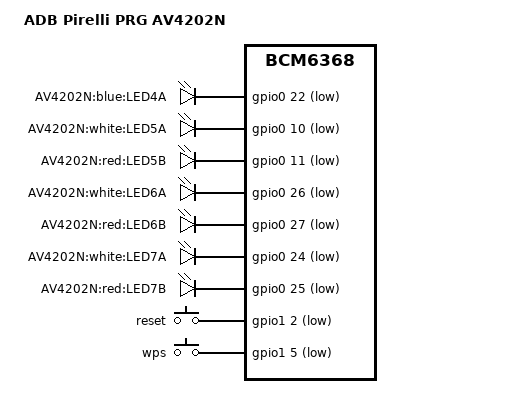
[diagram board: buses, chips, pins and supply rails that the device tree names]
/dts-v1/;

#include "bcm6368.dtsi"

#include <dt-bindings/input/input.h>

/ {
	model = "ADB Pirelli PRG AV4202N";
	compatible = "adb,av4202n", "brcm,bcm6368";

	gpio-leds {
		compatible = "gpio-leds";

		LED4A {
			label = "AV4202N:blue:LED4A";
			gpios = <&gpio0 22 1>;
		};
		LED5A {
			label = "AV4202N:white:LED5A";
			gpios = <&gpio0 10 1>;
		};
		LED5B {
			label = "AV4202N:red:LED5B";
			gpios = <&gpio0 11 1>;
		};
		LED6A {
			label = "AV4202N:white:LED6A";
			gpios = <&gpio0 26 1>;
		};
		LED6B {
			label = "AV4202N:red:LED6B";
			gpios = <&gpio0 27 1>;
		};
		LED7A {
			label = "AV4202N:white:LED7A";
			gpios = <&gpio0 24 1>;
		};
		LED7B {
			label = "AV4202N:red:LED7B";
			gpios = <&gpio0 25 1>;
		};
	};
	
	gpio-keys-polled {
		compatible = "gpio-keys-polled";
		#address-cells = <1>;
		#size-cells = <0>;
		poll-interval = <20>;
		debounce-interval = <60>;

		reset {
			label = "reset";
			gpios = <&gpio1 2 1>;
			linux,code = <KEY_RESTART>;
		};
		wps {
			label = "wps";
			gpios = <&gpio1 5 1>;
			linux,code = <KEY_WPS_BUTTON>;
		};
	};
};
